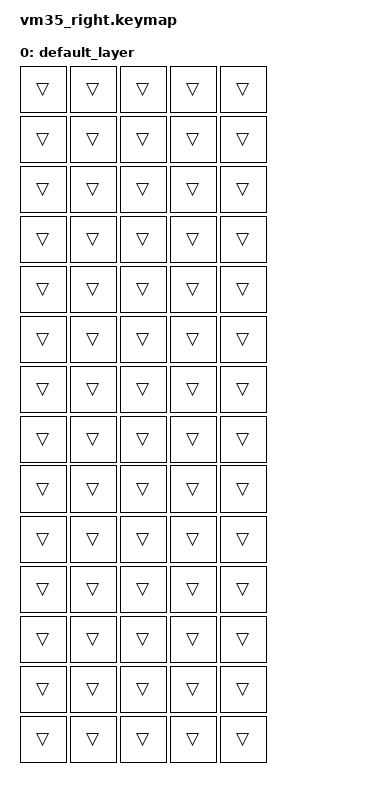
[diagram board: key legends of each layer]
#include <behaviors.dtsi>
#include <dt-bindings/zmk/keys.h>

/*
 * VM35 split — right (peripheral). Bindings here are never used: the
 * left/central owns the keymap and generates all HID. This stub only
 * exists so the peripheral target builds. Keep it 70 transparent keys.
 */

/ {
	keymap {
		compatible = "zmk,keymap";

		default_layer {
			bindings = <
				&trans &trans &trans &trans &trans
				&trans &trans &trans &trans &trans
				&trans &trans &trans &trans &trans
				&trans &trans &trans &trans &trans
				&trans &trans &trans &trans &trans
				&trans &trans &trans &trans &trans
				&trans &trans &trans &trans &trans

				&trans &trans &trans &trans &trans
				&trans &trans &trans &trans &trans
				&trans &trans &trans &trans &trans
				&trans &trans &trans &trans &trans
				&trans &trans &trans &trans &trans
				&trans &trans &trans &trans &trans
				&trans &trans &trans &trans &trans
			>;
		};
	};
};
